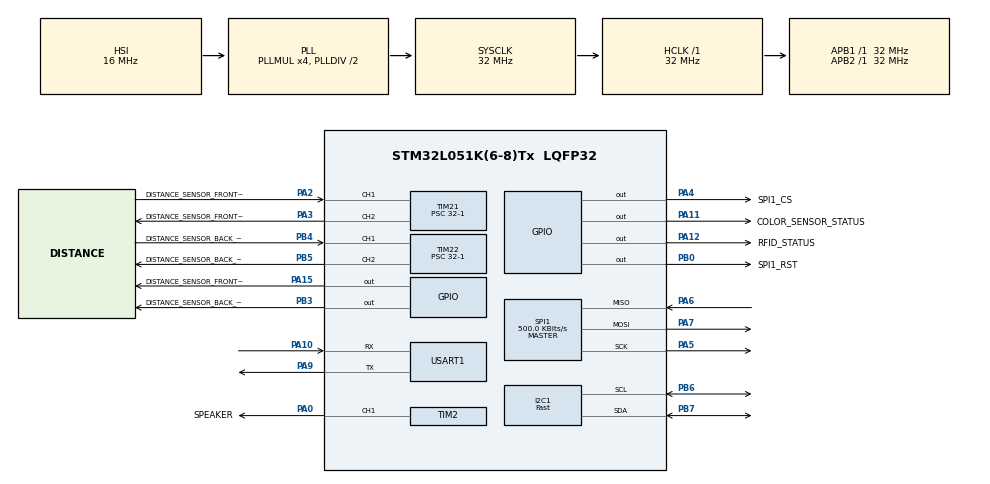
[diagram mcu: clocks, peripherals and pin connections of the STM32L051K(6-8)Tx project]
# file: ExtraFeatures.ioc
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Dma.I2C1_RX.0.Direction=DMA_PERIPH_TO_MEMORY
Dma.I2C1_RX.0.Instance=DMA1_Channel3
Dma.I2C1_RX.0.MemDataAlignment=DMA_MDATAALIGN_HALFWORD
Dma.I2C1_RX.0.MemInc=DMA_MINC_ENABLE
Dma.I2C1_RX.0.Mode=DMA_NORMAL
Dma.I2C1_RX.0.PeriphDataAlignment=DMA_PDATAALIGN_HALFWORD
Dma.I2C1_RX.0.PeriphInc=DMA_PINC_DISABLE
Dma.I2C1_RX.0.Priority=DMA_PRIORITY_HIGH
Dma.Request0=I2C1_RX
I2C1.DualAddressMode=I2C_DUALADDRESS_DISABLE
I2C1.I2C_Fall_Time=0
I2C1.I2C_Rise_Time=0
I2C1.I2C_Speed_Mode=I2C_Fast
I2C1.OwnAddress=0x10
I2C1.Timing=0x00300F38
Mcu.Family=STM32L0
Mcu.Name=STM32L051K(6-8)Tx
Mcu.Package=LQFP32
NVIC.DMA1_Channel2_3_IRQn=true\:0\:0\:false\:false\:true\:false\:true\:true
NVIC.TIM21_IRQn=true\:0\:0\:false\:false\:true\:true\:true\:true
NVIC.TIM22_IRQn=true\:0\:0\:false\:false\:true\:true\:true\:true
NVIC.TIM2_IRQn=true\:0\:0\:false\:false\:true\:true\:true\:true
PA0.GPIO_Label=SPEAKER
PA0.Signal=S_TIM2_CH1
PA10.Mode=Asynchronous
PA10.Signal=USART1_RX
PA11.GPIO_Label=COLOR_SENSOR_STATUS
PA11.GPIO_PuPd=GPIO_NOPULL
PA11.PinState=GPIO_PIN_SET
PA11.Signal=GPIO_Output
PA12.GPIO_Label=RFID_STATUS
PA12.GPIO_PuPd=GPIO_PULLUP
PA12.PinState=GPIO_PIN_SET
PA12.Signal=GPIO_Output
PA13.Mode=Serial_Wire
PA13.Signal=SYS_SWDIO
PA14.Mode=Serial_Wire
PA14.Signal=SYS_SWCLK
PA15.GPIO_Label=DISTANCE_SENSOR_FRONT_STATUS
PA15.GPIO_PuPd=GPIO_PULLUP
PA15.Signal=GPIO_Output
PA2.GPIO_Label=DISTANCE_SENSOR_FRONT_INPUT_CAPTURE
PA2.Signal=S_TIM21_CH1
PA3.GPIO_Label=DISTANCE_SENSOR_FRONT_PULSE
PA3.GPIO_Speed=GPIO_SPEED_FREQ_MEDIUM
PA3.Signal=S_TIM21_CH2
PA4.GPIO_Label=SPI1_CS
PA4.Signal=GPIO_Output
PA5.Mode=Full_Duplex_Master
PA5.Signal=SPI1_SCK
PA6.Mode=Full_Duplex_Master
PA6.Signal=SPI1_MISO
PA7.Mode=Full_Duplex_Master
PA7.Signal=SPI1_MOSI
PA9.Mode=Asynchronous
PA9.Signal=USART1_TX
PB0.GPIO_Label=SPI1_RST
PB0.GPIO_PuPd=GPIO_PULLUP
PB0.Signal=GPIO_Output
PB3.GPIO_Label=DISTANCE_SENSOR_BACK_STATUS
PB3.GPIO_PuPd=GPIO_PULLUP
PB3.Signal=GPIO_Output
PB4.GPIO_Label=DISTANCE_SENSOR_BACK_INPUT_CAPTURE
PB4.Signal=S_TIM22_CH1
PB5.GPIO_Label=DISTANCE_SENSOR_BACK_PULSE
PB5.GPIO_Speed=GPIO_SPEED_FREQ_MEDIUM
PB5.Signal=S_TIM22_CH2
PB6.Mode=I2C
PB6.Signal=I2C1_SCL
PB7.Mode=I2C
PB7.Signal=I2C1_SDA
ProjectManager.HeapSize=0x200
ProjectManager.StackSize=0x400
ProjectManager.TargetToolchain=STM32CubeIDE
RCC.AHBFreq_Value=32000000
RCC.APB1Freq_Value=32000000
RCC.APB1TimFreq_Value=32000000
RCC.APB2Freq_Value=32000000
RCC.APB2TimFreq_Value=32000000
RCC.HCLKFreq_Value=32000000
RCC.HSI16_VALUE=16000000
RCC.HSI_VALUE=16000000
RCC.LSE_VALUE=32768
RCC.MSI_VALUE=2097000
RCC.PLLMUL=RCC_PLLMUL_4
RCC.SYSCLKFreq_VALUE=32000000
RCC.SYSCLKSource=RCC_SYSCLKSOURCE_PLLCLK
RCC.VCOOutputFreq_Value=64000000
SH.S_TIM21_CH1.0=TIM21_CH1,Input_Capture1_from_TI1
SH.S_TIM21_CH2.0=TIM21_CH2,PWM Generation2 CH2
SH.S_TIM22_CH1.0=TIM22_CH1,Input_Capture1_from_TI1
SH.S_TIM22_CH2.0=TIM22_CH2,PWM Generation2 CH2
SH.S_TIM2_CH1.0=TIM2_CH1,PWM Generation1 CH1
SPI1.BaudRatePrescaler=SPI_BAUDRATEPRESCALER_64
SPI1.CalculateBaudRate=500.0 KBits/s
SPI1.Direction=SPI_DIRECTION_2LINES
SPI1.Mode=SPI_MODE_MASTER
SPI1.VirtualType=VM_MASTER
TIM2.AutoReloadPreload=TIM_AUTORELOAD_PRELOAD_ENABLE
TIM2.Channel-PWM\ Generation1\ CH1=TIM_CHANNEL_1
TIM2.Period=488
TIM2.Prescaler=32-1
TIM2.Pulse-PWM\ Generation1\ CH1=244
TIM21.AutoReloadPreload=TIM_AUTORELOAD_PRELOAD_ENABLE
TIM21.Channel-Input_Capture1_from_TI1=TIM_CHANNEL_1
TIM21.Channel-PWM\ Generation2\ CH2=TIM_CHANNEL_2
TIM21.ICPolarity_CH1=TIM_INPUTCHANNELPOLARITY_BOTHEDGE
TIM21.Prescaler=32-1
TIM21.Pulse-PWM\ Generation2\ CH2=10
TIM22.AutoReloadPreload=TIM_AUTORELOAD_PRELOAD_ENABLE
TIM22.Channel-Input_Capture1_from_TI1=TIM_CHANNEL_1
TIM22.Channel-PWM\ Generation2\ CH2=TIM_CHANNEL_2
TIM22.ICPolarity_CH1=TIM_INPUTCHANNELPOLARITY_BOTHEDGE
TIM22.Period=65535
TIM22.Prescaler=32-1
TIM22.Pulse-PWM\ Generation2\ CH2=10
USART1.VirtualMode-Asynchronous=VM_ASYNC
VP_TIM21_VS_ClockSourceINT.Mode=Internal
VP_TIM22_VS_ClockSourceINT.Mode=Internal
VP_TIM2_VS_ClockSourceINT.Mode=Internal
board=custom

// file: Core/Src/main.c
/* USER CODE BEGIN Header */
/**
  ******************************************************************************
  * @file           : main.c
  * @brief          : Main program body
  ******************************************************************************
  * @attention
  *
  * Copyright (c) 2025 STMicroelectronics.
  * All rights reserved.
  *
  * This software is licensed under terms that can be found in the LICENSE file
  * in the root directory of this software component.
  * If no LICENSE file comes with this software, it is provided AS-IS.
  *
  ******************************************************************************
  */
/* USER CODE END Header */
#include "main.h"

/* USER CODE BEGIN Includes */
#include "distancesensor.h"
#include "colorsensor.h"
#include "speaker.h"
#include "rfid.h"

#include <stdio.h>
#include <string.h>

/* USER CODE END Includes */

I2C_HandleTypeDef hi2c1;
DMA_HandleTypeDef hdma_i2c1_rx;

SPI_HandleTypeDef hspi1;

TIM_HandleTypeDef htim2;
TIM_HandleTypeDef htim21;
TIM_HandleTypeDef htim22;

UART_HandleTypeDef huart1;

/* USER CODE BEGIN PV */
rfid RFID_Module;
distancesensor Front;
distancesensor Back;
speaker Speaker;
colorsensor Color;
//colorsensor Color;

char Data[64];

/* USER CODE END PV */

void SystemClock_Config(void);
static void MX_GPIO_Init(void);
static void MX_DMA_Init(void);
static void MX_I2C1_Init(void);
static void MX_SPI1_Init(void);
static void MX_USART1_UART_Init(void);
static void MX_TIM2_Init(void);
static void MX_TIM22_Init(void);
static void MX_TIM21_Init(void);

/* USER CODE BEGIN 0 */

void HAL_TIM_IC_CaptureCallback(TIM_HandleTypeDef *htim) {
    if (htim->Instance == TIM21) {
		DistanceSensor_InputCaptureInterrupt(&Front);
	}
	else if (htim->Instance == TIM22) {
		DistanceSensor_InputCaptureInterrupt(&Back);
	}

}
/*
void HAL_I2C_MasterRxCpltCallback(I2C_HandleTypeDef *hi2c) {
    if (hi2c->Instance == I2C1) {
    	ColorSensor_ReceiveInterrupt(&Color);
    }
}
*/

void HAL_TIM_PeriodElapsedCallback(TIM_HandleTypeDef *htim)
{

	if (htim->Instance == TIM2 && Speaker.beepLengthOn != 0)
	{
		Speaker_BeepInterrupt(&Speaker);
	}

}

/* USER CODE END 0 */

int main(void)
{

  /* MCU Configuration--------------------------------------------------------*/

  /* Reset of all peripherals, Initializes the Flash interface and the Systick. */
  HAL_Init();

  /* Configure the system clock */
  SystemClock_Config();

  /* Initialize all configured peripherals */
  MX_GPIO_Init();
  MX_DMA_Init();
  MX_I2C1_Init();
  MX_SPI1_Init();
  MX_USART1_UART_Init();
  MX_TIM2_Init();
  MX_TIM22_Init();
  MX_TIM21_Init();
  /* USER CODE BEGIN 2 */

  DistanceSensor_Init(&Front, &htim21, DISTANCE_SENSOR_FRONT_ID, DISTANCE_SENSOR_FRONT_INPUT_CAPTURE_GPIO_Port, DISTANCE_SENSOR_FRONT_INPUT_CAPTURE_Pin, DISTANCE_SENSOR_FRONT_STATUS_GPIO_Port, DISTANCE_SENSOR_FRONT_STATUS_Pin);
  DistanceSensor_Init(&Back, &htim22, DISTANCE_SENSOR_BACK_ID, DISTANCE_SENSOR_BACK_INPUT_CAPTURE_GPIO_Port, DISTANCE_SENSOR_BACK_INPUT_CAPTURE_Pin, DISTANCE_SENSOR_BACK_STATUS_GPIO_Port, DISTANCE_SENSOR_BACK_STATUS_Pin);
  RFID_Init(&RFID_Module);
  Speaker_Init(&Speaker, &RFID_Module, &htim2);
  ColorSensor_Init(&Color, &hi2c1);
  //ColorSensor_Init(&Color, &hi2c1, COLORSENSOR_SLAVE_ADDRESS);
  /* USER CODE END 2 */

  /* Infinite loop */
  /* USER CODE BEGIN WHILE */
  DistanceSensor_Start(&Front);
  DistanceSensor_Start(&Back);
  while (1)
  {
	  //ColorSensor_ReceiveTransmit(&Color, sendData, receiveData);
	  RFID_SecurityLogic(&RFID_Module);
	  ColorSensor_Handle(&Color);
	  //ColorSensor_Handle(&Color);
	  /*
	  if (HAL_I2C_Master_Transmit(&hi2c1, 0x10 << 1, buffer, 1, HAL_MAX_DELAY) != HAL_OK) {
		  Error_Handler();
	  }

	  if (HAL_I2C_Master_Receive(&hi2c1, 0x10 << 1, buffer, 2, HAL_MAX_DELAY) != HAL_OK) {
	  		  Error_Handler();
	  }

	  sprintf(Data, "%u %u %u\r\n", registers[i], buffer[0], buffer[1]);
	  HAL_UART_Transmit(&huart1, (uint8_t*) Data, strlen(Data), HAL_MAX_DELAY);
	  HAL_Delay(250);
	  i++;
	  i %= 7;
		*/
    /* USER CODE END WHILE */

  }
}

void SystemClock_Config(void)
{
  RCC_OscInitTypeDef RCC_OscInitStruct = {0};
  RCC_ClkInitTypeDef RCC_ClkInitStruct = {0};
  RCC_PeriphCLKInitTypeDef PeriphClkInit = {0};

  /** Configure the main internal regulator output voltage
  */
  __HAL_PWR_VOLTAGESCALING_CONFIG(PWR_REGULATOR_VOLTAGE_SCALE1);

  /** Initializes the RCC Oscillators according to the specified parameters
  * in the RCC_OscInitTypeDef structure.
  */
  RCC_OscInitStruct.OscillatorType = RCC_OSCILLATORTYPE_HSI;
  RCC_OscInitStruct.HSIState = RCC_HSI_ON;
  RCC_OscInitStruct.HSICalibrationValue = RCC_HSICALIBRATION_DEFAULT;
  RCC_OscInitStruct.PLL.PLLState = RCC_PLL_ON;
  RCC_OscInitStruct.PLL.PLLSource = RCC_PLLSOURCE_HSI;
  RCC_OscInitStruct.PLL.PLLMUL = RCC_PLLMUL_4;
  RCC_OscInitStruct.PLL.PLLDIV = RCC_PLLDIV_2;
  if (HAL_RCC_OscConfig(&RCC_OscInitStruct) != HAL_OK)
  {
    Error_Handler();
  }

  /** Initializes the CPU, AHB and APB buses clocks
  */
  RCC_ClkInitStruct.ClockType = RCC_CLOCKTYPE_HCLK|RCC_CLOCKTYPE_SYSCLK
                              |RCC_CLOCKTYPE_PCLK1|RCC_CLOCKTYPE_PCLK2;
  RCC_ClkInitStruct.SYSCLKSource = RCC_SYSCLKSOURCE_PLLCLK;
  RCC_ClkInitStruct.AHBCLKDivider = RCC_SYSCLK_DIV1;
  RCC_ClkInitStruct.APB1CLKDivider = RCC_HCLK_DIV1;
  RCC_ClkInitStruct.APB2CLKDivider = RCC_HCLK_DIV1;

  if (HAL_RCC_ClockConfig(&RCC_ClkInitStruct, FLASH_LATENCY_1) != HAL_OK)
  {
    Error_Handler();
  }
  PeriphClkInit.PeriphClockSelection = RCC_PERIPHCLK_USART1|RCC_PERIPHCLK_I2C1;
  PeriphClkInit.Usart1ClockSelection = RCC_USART1CLKSOURCE_PCLK2;
  PeriphClkInit.I2c1ClockSelection = RCC_I2C1CLKSOURCE_PCLK1;
  if (HAL_RCCEx_PeriphCLKConfig(&PeriphClkInit) != HAL_OK)
  {
    Error_Handler();
  }
  HAL_RCC_MCOConfig(RCC_MCO1, RCC_MCO1SOURCE_SYSCLK, RCC_MCODIV_1);
}

static void MX_I2C1_Init(void)
{

  hi2c1.Instance = I2C1;
  hi2c1.Init.Timing = 0x00300F38;
  hi2c1.Init.OwnAddress1 = 32;
  hi2c1.Init.AddressingMode = I2C_ADDRESSINGMODE_7BIT;
  hi2c1.Init.DualAddressMode = I2C_DUALADDRESS_DISABLE;
  hi2c1.Init.OwnAddress2 = 0;
  hi2c1.Init.OwnAddress2Masks = I2C_OA2_NOMASK;
  hi2c1.Init.GeneralCallMode = I2C_GENERALCALL_DISABLE;
  hi2c1.Init.NoStretchMode = I2C_NOSTRETCH_DISABLE;
  if (HAL_I2C_Init(&hi2c1) != HAL_OK)
  {
    Error_Handler();
  }

  /** Configure Analogue filter
  */
  if (HAL_I2CEx_ConfigAnalogFilter(&hi2c1, I2C_ANALOGFILTER_ENABLE) != HAL_OK)
  {
    Error_Handler();
  }

  /** Configure Digital filter
  */
  if (HAL_I2CEx_ConfigDigitalFilter(&hi2c1, 0) != HAL_OK)
  {
    Error_Handler();
  }

}

static void MX_SPI1_Init(void)
{

  /* SPI1 parameter configuration*/
  hspi1.Instance = SPI1;
  hspi1.Init.Mode = SPI_MODE_MASTER;
  hspi1.Init.Direction = SPI_DIRECTION_2LINES;
  hspi1.Init.DataSize = SPI_DATASIZE_8BIT;
  hspi1.Init.CLKPolarity = SPI_POLARITY_LOW;
  hspi1.Init.CLKPhase = SPI_PHASE_1EDGE;
  hspi1.Init.NSS = SPI_NSS_SOFT;
  hspi1.Init.BaudRatePrescaler = SPI_BAUDRATEPRESCALER_64;
  hspi1.Init.FirstBit = SPI_FIRSTBIT_MSB;
  hspi1.Init.TIMode = SPI_TIMODE_DISABLE;
  hspi1.Init.CRCCalculation = SPI_CRCCALCULATION_DISABLE;
  hspi1.Init.CRCPolynomial = 7;
  if (HAL_SPI_Init(&hspi1) != HAL_OK)
  {
    Error_Handler();
  }

}

static void MX_TIM2_Init(void)
{

  TIM_ClockConfigTypeDef sClockSourceConfig = {0};
  TIM_MasterConfigTypeDef sMasterConfig = {0};
  TIM_OC_InitTypeDef sConfigOC = {0};

  htim2.Instance = TIM2;
  htim2.Init.Prescaler = 32-1;
  htim2.Init.CounterMode = TIM_COUNTERMODE_UP;
  htim2.Init.Period = 488;
  htim2.Init.ClockDivision = TIM_CLOCKDIVISION_DIV1;
  htim2.Init.AutoReloadPreload = TIM_AUTORELOAD_PRELOAD_ENABLE;
  if (HAL_TIM_Base_Init(&htim2) != HAL_OK)
  {
    Error_Handler();
  }
  sClockSourceConfig.ClockSource = TIM_CLOCKSOURCE_INTERNAL;
  if (HAL_TIM_ConfigClockSource(&htim2, &sClockSourceConfig) != HAL_OK)
  {
    Error_Handler();
  }
  if (HAL_TIM_PWM_Init(&htim2) != HAL_OK)
  {
    Error_Handler();
  }
  sMasterConfig.MasterOutputTrigger = TIM_TRGO_RESET;
  sMasterConfig.MasterSlaveMode = TIM_MASTERSLAVEMODE_DISABLE;
  if (HAL_TIMEx_MasterConfigSynchronization(&htim2, &sMasterConfig) != HAL_OK)
  {
    Error_Handler();
  }
  sConfigOC.OCMode = TIM_OCMODE_PWM1;
  sConfigOC.Pulse = 244;
  sConfigOC.OCPolarity = TIM_OCPOLARITY_HIGH;
  sConfigOC.OCFastMode = TIM_OCFAST_DISABLE;
  if (HAL_TIM_PWM_ConfigChannel(&htim2, &sConfigOC, TIM_CHANNEL_1) != HAL_OK)
  {
    Error_Handler();
  }
  HAL_TIM_MspPostInit(&htim2);

}

static void MX_TIM21_Init(void)
{

  TIM_ClockConfigTypeDef sClockSourceConfig = {0};
  TIM_MasterConfigTypeDef sMasterConfig = {0};
  TIM_IC_InitTypeDef sConfigIC = {0};
  TIM_OC_InitTypeDef sConfigOC = {0};

  htim21.Instance = TIM21;
  htim21.Init.Prescaler = 32-1;
  htim21.Init.CounterMode = TIM_COUNTERMODE_UP;
  htim21.Init.Period = 65535;
  htim21.Init.ClockDivision = TIM_CLOCKDIVISION_DIV1;
  htim21.Init.AutoReloadPreload = TIM_AUTORELOAD_PRELOAD_ENABLE;
  if (HAL_TIM_Base_Init(&htim21) != HAL_OK)
  {
    Error_Handler();
  }
  sClockSourceConfig.ClockSource = TIM_CLOCKSOURCE_INTERNAL;
  if (HAL_TIM_ConfigClockSource(&htim21, &sClockSourceConfig) != HAL_OK)
  {
    Error_Handler();
  }
  if (HAL_TIM_IC_Init(&htim21) != HAL_OK)
  {
    Error_Handler();
  }
  if (HAL_TIM_PWM_Init(&htim21) != HAL_OK)
  {
    Error_Handler();
  }
  sMasterConfig.MasterOutputTrigger = TIM_TRGO_RESET;
  sMasterConfig.MasterSlaveMode = TIM_MASTERSLAVEMODE_DISABLE;
  if (HAL_TIMEx_MasterConfigSynchronization(&htim21, &sMasterConfig) != HAL_OK)
  {
    Error_Handler();
  }
  sConfigIC.ICPolarity = TIM_INPUTCHANNELPOLARITY_BOTHEDGE;
  sConfigIC.ICSelection = TIM_ICSELECTION_DIRECTTI;
  sConfigIC.ICPrescaler = TIM_ICPSC_DIV1;
  sConfigIC.ICFilter = 0;
  if (HAL_TIM_IC_ConfigChannel(&htim21, &sConfigIC, TIM_CHANNEL_1) != HAL_OK)
  {
    Error_Handler();
  }
  sConfigOC.OCMode = TIM_OCMODE_PWM1;
  sConfigOC.Pulse = 10;
  sConfigOC.OCPolarity = TIM_OCPOLARITY_HIGH;
  sConfigOC.OCFastMode = TIM_OCFAST_DISABLE;
  if (HAL_TIM_PWM_ConfigChannel(&htim21, &sConfigOC, TIM_CHANNEL_2) != HAL_OK)
  {
    Error_Handler();
  }
  HAL_TIM_MspPostInit(&htim21);

}

static void MX_TIM22_Init(void)
{

  TIM_ClockConfigTypeDef sClockSourceConfig = {0};
  TIM_MasterConfigTypeDef sMasterConfig = {0};
  TIM_IC_InitTypeDef sConfigIC = {0};
  TIM_OC_InitTypeDef sConfigOC = {0};

  htim22.Instance = TIM22;
  htim22.Init.Prescaler = 32-1;
  htim22.Init.CounterMode = TIM_COUNTERMODE_UP;
  htim22.Init.Period = 65535;
  htim22.Init.ClockDivision = TIM_CLOCKDIVISION_DIV1;
  htim22.Init.AutoReloadPreload = TIM_AUTORELOAD_PRELOAD_ENABLE;
  if (HAL_TIM_Base_Init(&htim22) != HAL_OK)
  {
    Error_Handler();
  }
  sClockSourceConfig.ClockSource = TIM_CLOCKSOURCE_INTERNAL;
  if (HAL_TIM_ConfigClockSource(&htim22, &sClockSourceConfig) != HAL_OK)
  {
    Error_Handler();
  }
  if (HAL_TIM_IC_Init(&htim22) != HAL_OK)
  {
    Error_Handler();
  }
  if (HAL_TIM_PWM_Init(&htim22) != HAL_OK)
  {
    Error_Handler();
  }
  sMasterConfig.MasterOutputTrigger = TIM_TRGO_RESET;
  sMasterConfig.MasterSlaveMode = TIM_MASTERSLAVEMODE_DISABLE;
  if (HAL_TIMEx_MasterConfigSynchronization(&htim22, &sMasterConfig) != HAL_OK)
  {
    Error_Handler();
  }
  sConfigIC.ICPolarity = TIM_INPUTCHANNELPOLARITY_BOTHEDGE;
  sConfigIC.ICSelection = TIM_ICSELECTION_DIRECTTI;
  sConfigIC.ICPrescaler = TIM_ICPSC_DIV1;
  sConfigIC.ICFilter = 0;
  if (HAL_TIM_IC_ConfigChannel(&htim22, &sConfigIC, TIM_CHANNEL_1) != HAL_OK)
  {
    Error_Handler();
  }
  sConfigOC.OCMode = TIM_OCMODE_PWM1;
  sConfigOC.Pulse = 10;
  sConfigOC.OCPolarity = TIM_OCPOLARITY_HIGH;
  sConfigOC.OCFastMode = TIM_OCFAST_DISABLE;
  if (HAL_TIM_PWM_ConfigChannel(&htim22, &sConfigOC, TIM_CHANNEL_2) != HAL_OK)
  {
    Error_Handler();
  }
  HAL_TIM_MspPostInit(&htim22);

}

static void MX_USART1_UART_Init(void)
{

  huart1.Instance = USART1;
  huart1.Init.BaudRate = 115200;
  huart1.Init.WordLength = UART_WORDLENGTH_8B;
  huart1.Init.StopBits = UART_STOPBITS_1;
  huart1.Init.Parity = UART_PARITY_NONE;
  huart1.Init.Mode = UART_MODE_TX_RX;
  huart1.Init.HwFlowCtl = UART_HWCONTROL_NONE;
  huart1.Init.OverSampling = UART_OVERSAMPLING_16;
  huart1.Init.OneBitSampling = UART_ONE_BIT_SAMPLE_DISABLE;
  huart1.AdvancedInit.AdvFeatureInit = UART_ADVFEATURE_NO_INIT;
  if (HAL_UART_Init(&huart1) != HAL_OK)
  {
    Error_Handler();
  }

}

static void MX_DMA_Init(void)
{

  /* DMA controller clock enable */
  __HAL_RCC_DMA1_CLK_ENABLE();

  /* DMA interrupt init */
  /* DMA1_Channel2_3_IRQn interrupt configuration */
  HAL_NVIC_SetPriority(DMA1_Channel2_3_IRQn, 0, 0);
  HAL_NVIC_EnableIRQ(DMA1_Channel2_3_IRQn);

}

static void MX_GPIO_Init(void)
{
  GPIO_InitTypeDef GPIO_InitStruct = {0};

  /* GPIO Ports Clock Enable */
  __HAL_RCC_GPIOA_CLK_ENABLE();
  __HAL_RCC_GPIOB_CLK_ENABLE();

  /*Configure GPIO pin Output Level */
  HAL_GPIO_WritePin(GPIOA, SPI1_CS_Pin|DISTANCE_SENSOR_FRONT_STATUS_Pin, GPIO_PIN_RESET);

  /*Configure GPIO pin Output Level */
  HAL_GPIO_WritePin(GPIOB, SPI1_RST_Pin|DISTANCE_SENSOR_BACK_STATUS_Pin, GPIO_PIN_RESET);

  /*Configure GPIO pin Output Level */
  HAL_GPIO_WritePin(GPIOA, COLOR_SENSOR_STATUS_Pin|RFID_STATUS_Pin, GPIO_PIN_SET);

  /*Configure GPIO pins : SPI1_CS_Pin COLOR_SENSOR_STATUS_Pin */
  GPIO_InitStruct.Pin = SPI1_CS_Pin|COLOR_SENSOR_STATUS_Pin;
  GPIO_InitStruct.Mode = GPIO_MODE_OUTPUT_PP;
  GPIO_InitStruct.Pull = GPIO_NOPULL;
  GPIO_InitStruct.Speed = GPIO_SPEED_FREQ_LOW;
  HAL_GPIO_Init(GPIOA, &GPIO_InitStruct);

  /*Configure GPIO pins : SPI1_RST_Pin DISTANCE_SENSOR_BACK_STATUS_Pin */
  GPIO_InitStruct.Pin = SPI1_RST_Pin|DISTANCE_SENSOR_BACK_STATUS_Pin;
  GPIO_InitStruct.Mode = GPIO_MODE_OUTPUT_PP;
  GPIO_InitStruct.Pull = GPIO_PULLUP;
  GPIO_InitStruct.Speed = GPIO_SPEED_FREQ_LOW;
  HAL_GPIO_Init(GPIOB, &GPIO_InitStruct);

  /*Configure GPIO pins : RFID_STATUS_Pin DISTANCE_SENSOR_FRONT_STATUS_Pin */
  GPIO_InitStruct.Pin = RFID_STATUS_Pin|DISTANCE_SENSOR_FRONT_STATUS_Pin;
  GPIO_InitStruct.Mode = GPIO_MODE_OUTPUT_PP;
  GPIO_InitStruct.Pull = GPIO_PULLUP;
  GPIO_InitStruct.Speed = GPIO_SPEED_FREQ_LOW;
  HAL_GPIO_Init(GPIOA, &GPIO_InitStruct);

}

void Error_Handler(void)
{
  __disable_irq();
  while (1)
  {
  }
}
